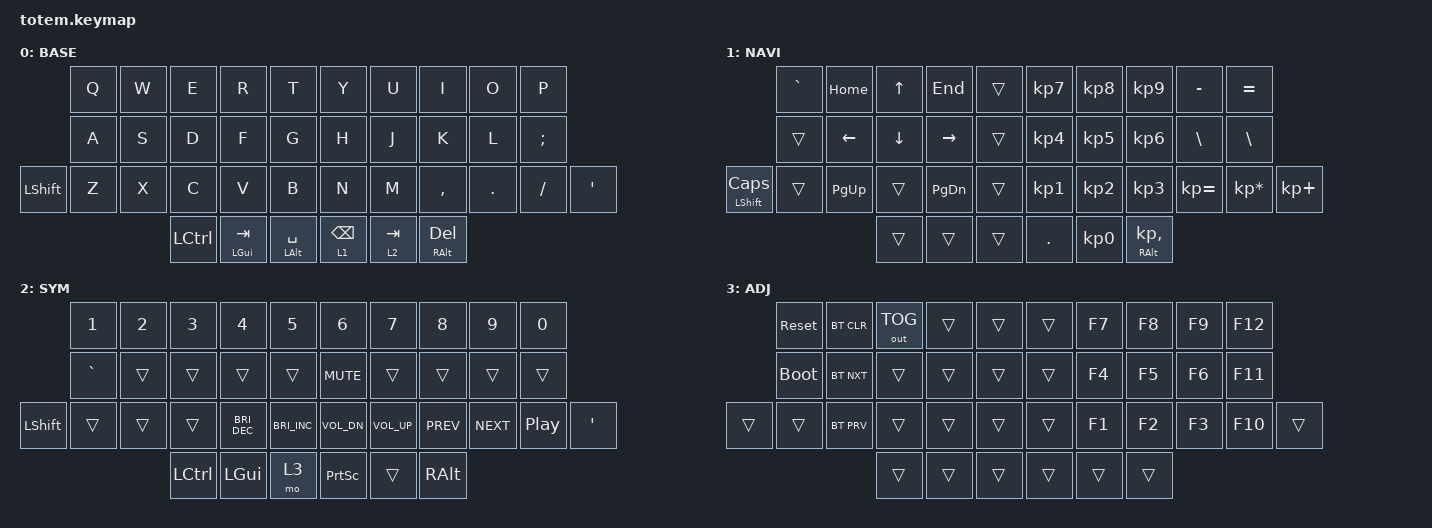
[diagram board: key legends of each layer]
//
//                                                        ▀▀▀▀▀     ▀▀▀▀▀          ▀▀█▀▀
//                                                        ▄▀▀▀▄  ▄  ▄▀▀▀▄  ▄  ▄▀▀▀▄  █  ▄▀▀▀▄
//                                                        █   █  █  █   █  █  █   █  █  █   █
//                                                         ▀▀▀   █   ▀▀▀   █   ▀▀▀   ▀   ▀▀▀
//                                                               █      ▄▄▄█▄▄▄    █   █  
//                                                               ▀      █  █  █     █▄█
//                                                             ▀▀▀▀▀    █  █  █      ▀
//                                                                      ▀  ▀  ▀
//
// ▄▄▄▄▄▄▄▄▄▄▄▄▄▄▄▄▄▄▄▄▄▄▄▄▄▄▄▄▄▄▄▄▄▄▄▄▄▄▄▄▄▄▄▄▄▄▄▄▄▄▄▄▄▄▄▄▄▄▄▄▄▄▄▄▄▄▄▄▄▄▄▄▄▄▄▄▄▄▄▄▄▄▄▄▄▄▄▄▄▄▄▄▄▄▄▄▄▄▄▄▄▄▄▄▄▄▄▄▄▄▄▄▄▄▄▄▄▄▄▄▄▄▄▄▄▄▄▄▄▄▄▄▄▄▄▄▄▄▄▄▄▄▄▄▄▄▄▄▄

#include <behaviors.dtsi>
#include <dt-bindings/zmk/bt.h>
#include <dt-bindings/zmk/keys.h>
#include <dt-bindings/zmk/outputs.h>

#define BASE 0
#define NAV  1
#define SYM  2
#define ADJ  3
#define TVP1 4
#define TVP2 5

&mt {
    quick-tap-ms = <100>;
    global-quick-tap;
    flavor = "tap-preferred";
    tapping-term-ms = <170>;
};

/ {
    combos {
        compatible = "zmk,combos";

        combo_esc {
            timeout-ms = <50>;
            key-positions = <11 12>;
            bindings = <&kp ESC>;
        };

        Enter_key {
            bindings = <&kp ENTER>;
            key-positions = <11 12 13>;
        };

        en_parentheses_left {
            bindings = <&kp LS(NUMBER_9)>;
            key-positions = <7 6>;
        };

        en_parentheses_right {
            bindings = <&kp LS(NUMBER_0)>;
            key-positions = <7 8>;
        };

        en_bracket_left {
            bindings = <&kp LEFT_BRACKET>;
            key-positions = <16 17>;
        };

        en_bracket_right {
            bindings = <&kp RIGHT_BRACKET>;
            key-positions = <17 18>;
        };

        en_curly_left {
            bindings = <&kp LS(LEFT_BRACKET)>;
            key-positions = <27 28>;
        };

        en_curly_right {
            bindings = <&kp LS(RIGHT_BRACKET)>;
            key-positions = <28 29>;
        };

        en_underscore {
            bindings = <&kp LS(MINUS)>;
            key-positions = <5 6>;
        };

        en_dollar {
            bindings = <&kp LS(NUMBER_4)>;
            key-positions = <15 16>;
        };

        en_percent_sign {
            bindings = <&kp LS(NUMBER_5)>;
            key-positions = <26 27>;
        };

        en_exclamation_mark {
            bindings = <&kp LS(NUMBER_1)>;
            key-positions = <30 31>;
        };

        en_caret {
            bindings = <&kp LS(NUMBER_6)>;
            key-positions = <29 19>;
        };

        en_double_quotes {
            bindings = <&kp LS(SINGLE_QUOTE)>;
            key-positions = <18 9>;
        };

        en_hashtag {
            bindings = <&kp LS(NUMBER_3)>;
            key-positions = <13 14>;
        };

        en_ampersand {
            bindings = <&kp LS(NUMBER_7)>;
            key-positions = <3 4>;
        };

        en_at {
            bindings = <&kp LS(NUMBER_2)>;
            key-positions = <24 25>;
        };
    };

    macros {
        gif: gif {
            label = "giphy";
            compatible = "zmk,behavior-macro";
            #binding-cells = <0>;
            bindings =
                <&macro_press>,
                <&kp LSHFT>,
                <&macro_tap>,
                <&kp N2>,
                <&macro_release>,
                <&kp LSHFT>,
                <&macro_tap>,
                <&kp G &kp I &kp F>;
        };
    };

    keymap {
        compatible = "zmk,keymap";

        // ▄▄▄▄▄▄▄▄▄▄▄▄▄▄▄▄▄▄▄▄▄▄▄▄▄▄▄▄▄▄▄▄▄▄▄▄▄▄▄▄▄▄▄▄▄▄▄▄▄▄▄▄▄▄▄▄▄▄▄▄▄▄▄▄▄▄▄▄▄▄▄▄▄▄▄▄▄▄▄▄▄▄▄▄▄▄▄▄▄▄▄▄▄▄▄▄▄▄▄▄▄▄▄▄▄▄▄▄▄▄▄▄▄▄▄▄▄▄▄▄▄▄▄▄▄▄▄▄▄▄▄▄▄▄▄▄▄▄▄▄▄▄▄▄▄▄▄▄▄

        base_layer {
            // ┏━━━━━━━━━━━━━━━━━━━━━━━━━━━━━━━━━━━━━━━┓

            label = "BASE";

            // ┗━━━━━━━━━━━━━━━━━━━━━━━━━━━━━━━━━━━━━━━┛
            //             ┏━━━━━━━━━━━┳━━━━━━━━━━━┳━━━━━━━━━━━┳━━━━━━━━━━━┳━━━━━━━━━━━┓   ┏━━━━━━━━━━━┳━━━━━━━━━━━┳━━━━━━━━━━━┳━━━━━━━━━━━┳━━━━━━━━━━━┓
            //             ┃     Q     ┃     W     ┃     F     ┃     P     ┃     G     ┃   ┃     J     ┃     L     ┃     U     ┃     Y     ┃     ;     ┃
            //             ┣━━━━━━━━━━━╋━━━━━━━━━━━╋━━━━━━━━━━━╋━━━━━━━━━━━╋━━━━━━━━━━━┫   ┣━━━━━━━━━━━╋━━━━━━━━━━━╋━━━━━━━━━━━╋━━━━━━━━━━━╋━━━━━━━━━━━┫
            //             ┃     A     ┃     R     ┃     S     ┃     T     ┃     D     ┃   ┃     H     ┃     N     ┃     E     ┃     I     ┃     O     ┃
            // ┏━━━━━━━━━━━╋━━━━━━━━━━━╋━━━━━━━━━━━╋━━━━━━━━━━━╋━━━━━━━━━━━╋━━━━━━━━━━━┫   ┣━━━━━━━━━━━╋━━━━━━━━━━━╋━━━━━━━━━━━╋━━━━━━━━━━━╋━━━━━━━━━━━╋━━━━━━━━━━━┓
            // ┃     Q     ┃     Z     ┃     X     ┃     C     ┃     V     ┃     B     ┃   ┃     K     ┃     M     ┃     ,     ┃     .     ┃     /     ┃     \     ┃
            // ┗━━━━━━━━━━━┻━━━━━━━━━━━┻━━━━━━━━━━━╋━━━━━━━━━━━╋━━━━━━━━━━━╋━━━━━━━━━━━┫   ┣━━━━━━━━━━━╋━━━━━━━━━━━╋━━━━━━━━━━━╋━━━━━━━━━━━┻━━━━━━━━━━━┻━━━━━━━━━━━┛
            //                                     ┃    DEL    ┃    TAB    ┃    SPC    ┃   ┃   ENTER   ┃           ┃   BSPC    ┃
            //                                     ┗━━━━━━━━━━━┻━━━━━━━━━━━┻━━━━━━━━━━━┛   ┗━━━━━━━━━━━┻━━━━━━━━━━━┻━━━━━━━━━━━┛

            bindings = <
            &kp Q  &kp W  &kp E      &kp R         &kp T                 &kp Y            &kp U      &kp I                 &kp O    &kp P
            &kp A  &kp S  &kp D      &kp F         &kp G                 &kp H            &kp J      &kp K                 &kp L    &kp SEMICOLON
&kp LSHIFT  &kp Z  &kp X  &kp C      &kp V         &kp B                 &kp N            &kp M      &kp COMMA             &kp DOT  &kp FSLH       &kp SINGLE_QUOTE
                          &kp LCTRL  &mt LGUI TAB  &mt LEFT_ALT SPACE    &lt 1 BACKSPACE  &lt 2 TAB  &mt RIGHT_ALT DELETE
            >;
        };

        // ▄▄▄▄▄▄▄▄▄▄▄▄▄▄▄▄▄▄▄▄▄▄▄▄▄▄▄▄▄▄▄▄▄▄▄▄▄▄▄▄▄▄▄▄▄▄▄▄▄▄▄▄▄▄▄▄▄▄▄▄▄▄▄▄▄▄▄▄▄▄▄▄▄▄▄▄▄▄▄▄▄▄▄▄▄▄▄▄▄▄▄▄▄▄▄▄▄▄▄▄▄▄▄▄▄▄▄▄▄▄▄▄▄▄▄▄▄▄▄▄▄▄▄▄▄▄▄▄▄▄▄▄▄▄▄▄▄▄▄▄▄▄▄▄▄▄▄▄▄

        nav_layer {
            // ┏━━━━━━━━━━━━━━━━━━━━━━━━━━━━━━━━━━━━━━━┓

            label = "NAVI";

            // ┗━━━━━━━━━━━━━━━━━━━━━━━━━━━━━━━━━━━━━━━┛
            //             ┏━━━━━━━━━━━┳━━━━━━━━━━━┳━━━━━━━━━━━┳━━━━━━━━━━━┳━━━━━━━━━━━┓   ┏━━━━━━━━━━━┳━━━━━━━━━━━┳━━━━━━━━━━━┳━━━━━━━━━━━┳━━━━━━━━━━━┓
            //             ┃           ┃           ┃     UP    ┃           ┃     {     ┃   ┃     }     ┃     7     ┃     8     ┃     9     ┃     +     ┃
            //             ┣━━━━━━━━━━━╋━━━━━━━━━━━╋━━━━━━━━━━━╋━━━━━━━━━━━╋━━━━━━━━━━━┫   ┣━━━━━━━━━━━╋━━━━━━━━━━━╋━━━━━━━━━━━╋━━━━━━━━━━━╋━━━━━━━━━━━┫
            //             ┃   SHIFT   ┃   LEFT    ┃    DOWN   ┃   RIGHT   ┃     [     ┃   ┃     ]     ┃     4     ┃     5     ┃     6     ┃     -     ┃
            // ┏━━━━━━━━━━━╋━━━━━━━━━━━╋━━━━━━━━━━━╋━━━━━━━━━━━╋━━━━━━━━━━━╋━━━━━━━━━━━┫   ┣━━━━━━━━━━━╋━━━━━━━━━━━╋━━━━━━━━━━━╋━━━━━━━━━━━╋━━━━━━━━━━━╋━━━━━━━━━━━┓
            // ┃           ┃           ┃   P UP    ┃  C LOCK   ┃  P DOWN   ┃     (     ┃   ┃     )     ┃     1     ┃     2     ┃     3     ┃     *     ┃           ┃
            // ┗━━━━━━━━━━━┻━━━━━━━━━━━┻━━━━━━━━━━━╋━━━━━━━━━━━╋━━━━━━━━━━━╋━━━━━━━━━━━┫   ┣━━━━━━━━━━━╋━━━━━━━━━━━╋━━━━━━━━━━━╋━━━━━━━━━━━┻━━━━━━━━━━━┻━━━━━━━━━━━┛
            //                                     ┃           ┃    TAB    ┃    SPC    ┃   ┃    DEL    ┃     0     ┃           ┃
            //                                     ┗━━━━━━━━━━━┻━━━━━━━━━━━┻━━━━━━━━━━━┛   ┗━━━━━━━━━━━┻━━━━━━━━━━━┻━━━━━━━━━━━┛

            bindings = <
                     &kp GRAVE  &kp HOME   &kp UP    &kp END    &trans    &kp KP_NUMBER_7  &kp KP_NUMBER_8  &kp KP_NUMBER_9         &kp MINUS      &kp EQUAL
                     &trans     &kp LEFT   &kp DOWN  &kp RIGHT  &trans    &kp KP_NUMBER_4  &kp KP_NUMBER_5  &kp KP_NUMBER_6         &kp BACKSLASH  &kp BACKSLASH
&mt LEFT_SHIFT CAPS  &trans     &kp PG_UP  &trans    &kp PG_DN  &trans    &kp KP_NUMBER_1  &kp KP_NUMBER_2  &kp KP_NUMBER_3         &kp KP_EQUAL   &kp KP_MULTIPLY  &kp KP_PLUS
                                           &trans    &trans     &trans    &kp PERIOD       &kp KP_NUMBER_0  &mt RIGHT_ALT KP_COMMA
            >;
        };

        // ▄▄▄▄▄▄▄▄▄▄▄▄▄▄▄▄▄▄▄▄▄▄▄▄▄▄▄▄▄▄▄▄▄▄▄▄▄▄▄▄▄▄▄▄▄▄▄▄▄▄▄▄▄▄▄▄▄▄▄▄▄▄▄▄▄▄▄▄▄▄▄▄▄▄▄▄▄▄▄▄▄▄▄▄▄▄▄▄▄▄▄▄▄▄▄▄▄▄▄▄▄▄▄▄▄▄▄▄▄▄▄▄▄▄▄▄▄▄▄▄▄▄▄▄▄▄▄▄▄▄▄▄▄▄▄▄▄▄▄▄▄▄▄▄▄▄▄▄▄

        sim_layer {
            // ┏━━━━━━━━━━━━━━━━━━━━━━━━━━━━━━━━━━━━━━━┓

            label = "SYM";

            // ┗━━━━━━━━━━━━━━━━━━━━━━━━━━━━━━━━━━━━━━━┛
            //             ┏━━━━━━━━━━━┳━━━━━━━━━━━┳━━━━━━━━━━━┳━━━━━━━━━━━┳━━━━━━━━━━━┓   ┏━━━━━━━━━━━┳━━━━━━━━━━━┳━━━━━━━━━━━┳━━━━━━━━━━━┳━━━━━━━━━━━┓
            //             ┃     !     ┃     @     ┃     #     ┃     $     ┃     %     ┃   ┃     ˆ     ┃     &     ┃     Ü     ┃     '     ┃     "     ┃
            //             ┣━━━━━━━━━━━╋━━━━━━━━━━━╋━━━━━━━━━━━╋━━━━━━━━━━━╋━━━━━━━━━━━┫   ┣━━━━━━━━━━━╋━━━━━━━━━━━╋━━━━━━━━━━━╋━━━━━━━━━━━╋━━━━━━━━━━━┫
            //             ┃     Ä     ┃           ┃    SZ     ┃           ┃           ┃   ┃   MUTE    ┃   YEN     ┃   EURO    ┃  POUND    ┃     Ö     ┃
            // ┏━━━━━━━━━━━╋━━━━━━━━━━━╋━━━━━━━━━━━╋━━━━━━━━━━━╋━━━━━━━━━━━╋━━━━━━━━━━━┫   ┣━━━━━━━━━━━╋━━━━━━━━━━━╋━━━━━━━━━━━╋━━━━━━━━━━━╋━━━━━━━━━━━╋━━━━━━━━━━━┓
            // ┃           ┃  EMAIL1   ┃  EMAIL2   ┃           ┃           ┃           ┃   ┃   VOL-    ┃   VOL+    ┃   LAST    ┃   NEXT    ┃     \     ┃           ┃
            // ┗━━━━━━━━━━━┻━━━━━━━━━━━┻━━━━━━━━━━━╋━━━━━━━━━━━╋━━━━━━━━━━━╋━━━━━━━━━━━┫   ┣━━━━━━━━━━━╋━━━━━━━━━━━╋━━━━━━━━━━━╋━━━━━━━━━━━┻━━━━━━━━━━━┻━━━━━━━━━━━┛
            //                                     ┃           ┃    GIF    ┃    ADJ    ┃   ┃           ┃           ┃           ┃
            //                                     ┗━━━━━━━━━━━┻━━━━━━━━━━━┻━━━━━━━━━━━┛   ┗━━━━━━━━━━━┻━━━━━━━━━━━┻━━━━━━━━━━━┛

            bindings = <
            &kp NUMBER_1  &kp NUMBER_2  &kp NUMBER_3  &kp NUMBER_4          &kp NUMBER_5            &kp NUMBER_6  &kp NUMBER_7  &kp NUMBER_8  &kp NUMBER_9  &kp NUMBER_0
            &kp GRAVE     &trans        &trans        &trans                &trans                  &kp C_MUTE    &trans        &trans        &trans        &trans
&kp LSHIFT  &trans        &trans        &trans        &kp C_BRIGHTNESS_DEC  &kp C_BRIGHTNESS_INC    &kp C_VOL_DN  &kp C_VOL_UP  &kp C_PREV    &kp C_NEXT    &kp C_PP      &kp APOSTROPHE
                                        &kp LCTRL     &kp LGUI              &mo 3                   &kp PSCRN     &trans        &kp RALT
            >;
        };

        // ▄▄▄▄▄▄▄▄▄▄▄▄▄▄▄▄▄▄▄▄▄▄▄▄▄▄▄▄▄▄▄▄▄▄▄▄▄▄▄▄▄▄▄▄▄▄▄▄▄▄▄▄▄▄▄▄▄▄▄▄▄▄▄▄▄▄▄▄▄▄▄▄▄▄▄▄▄▄▄▄▄▄▄▄▄▄▄▄▄▄▄▄▄▄▄▄▄▄▄▄▄▄▄▄▄▄▄▄▄▄▄▄▄▄▄▄▄▄▄▄▄▄▄▄▄▄▄▄▄▄▄▄▄▄▄▄▄▄▄▄▄▄▄▄▄▄▄▄▄

        adjust_layer {
            // ┏━━━━━━━━━━━━━━━━━━━━━━━━━━━━━━━━━━━━━━━┓

            label = "ADJ";

            // ┗━━━━━━━━━━━━━━━━━━━━━━━━━━━━━━━━━━━━━━━┛
            //             ┏━━━━━━━━━━━┳━━━━━━━━━━━┳━━━━━━━━━━━┳━━━━━━━━━━━┳━━━━━━━━━━━┓   ┏━━━━━━━━━━━┳━━━━━━━━━━━┳━━━━━━━━━━━┳━━━━━━━━━━━┳━━━━━━━━━━━┓
            //             ┃   RESET   ┃ BT CLEAR  ┃  OUT TOG  ┃           ┃           ┃   ┃           ┃    F7     ┃    F8     ┃    F9     ┃    F12    ┃
            //             ┣━━━━━━━━━━━╋━━━━━━━━━━━╋━━━━━━━━━━━╋━━━━━━━━━━━╋━━━━━━━━━━━┫   ┣━━━━━━━━━━━╋━━━━━━━━━━━╋━━━━━━━━━━━╋━━━━━━━━━━━╋━━━━━━━━━━━┫
            //             ┃ BOOTLOAD  ┃ BT NEXT   ┃           ┃           ┃           ┃   ┃           ┃    F4     ┃    F5     ┃    F6     ┃    F11    ┃
            // ┏━━━━━━━━━━━╋━━━━━━━━━━━╋━━━━━━━━━━━╋━━━━━━━━━━━╋━━━━━━━━━━━╋━━━━━━━━━━━┫   ┣━━━━━━━━━━━╋━━━━━━━━━━━╋━━━━━━━━━━━╋━━━━━━━━━━━╋━━━━━━━━━━━╋━━━━━━━━━━━┓
            // ┃           ┃           ┃ BT PREV   ┃           ┃           ┃           ┃   ┃           ┃    F1     ┃    F2     ┃    F3     ┃    F10    ┃           ┃
            // ┗━━━━━━━━━━━┻━━━━━━━━━━━┻━━━━━━━━━━━╋━━━━━━━━━━━╋━━━━━━━━━━━╋━━━━━━━━━━━┫   ┣━━━━━━━━━━━╋━━━━━━━━━━━╋━━━━━━━━━━━╋━━━━━━━━━━━┻━━━━━━━━━━━┻━━━━━━━━━━━┛
            //                                     ┃           ┃           ┃           ┃   ┃           ┃           ┃           ┃
            //                                     ┗━━━━━━━━━━━┻━━━━━━━━━━━┻━━━━━━━━━━━┛   ┗━━━━━━━━━━━┻━━━━━━━━━━━┻━━━━━━━━━━━┛

            bindings = <
        &sys_reset   &bt BT_CLR  &out OUT_TOG  &trans  &trans    &trans  &kp F7  &kp F8  &kp F9  &kp F12
        &bootloader  &bt BT_NXT  &trans        &trans  &trans    &trans  &kp F4  &kp F5  &kp F6  &kp F11
&trans  &trans       &bt BT_PRV  &trans        &trans  &trans    &trans  &kp F1  &kp F2  &kp F3  &kp F10  &trans
                                 &trans        &trans  &trans    &trans  &trans  &trans
            >;
        };

        // ▄▄▄▄▄▄▄▄▄▄▄▄▄▄▄▄▄▄▄▄▄▄▄▄▄▄▄▄▄▄▄▄▄▄▄▄▄▄▄▄▄▄▄▄▄▄▄▄▄▄▄▄▄▄▄▄▄▄▄▄▄▄▄▄▄▄▄▄▄▄▄▄▄▄▄▄▄▄▄▄▄▄▄▄▄▄▄▄▄▄▄▄▄▄▄▄▄▄▄▄▄▄▄▄▄▄▄▄▄▄▄▄▄▄▄▄▄▄▄▄▄▄▄▄▄▄▄▄▄▄▄▄▄▄▄▄▄▄▄▄▄▄▄▄▄▄▄▄▄
        // ▄▄▄▄▄▄▄▄▄▄▄▄▄▄▄▄▄▄▄▄▄▄▄▄▄▄▄▄▄▄▄▄▄▄▄▄▄▄▄▄▄▄▄▄▄▄▄▄▄▄▄▄▄▄▄▄▄▄▄▄▄▄▄▄▄▄▄▄▄▄▄▄▄▄▄▄▄▄▄▄▄▄▄▄▄▄▄▄▄▄▄▄▄▄▄▄▄▄▄▄▄▄▄▄▄▄▄▄▄▄▄▄▄▄▄▄▄▄▄▄▄▄▄▄▄▄▄▄▄▄▄▄▄▄▄▄▄▄▄▄▄▄▄▄▄▄▄▄▄
    };
};
